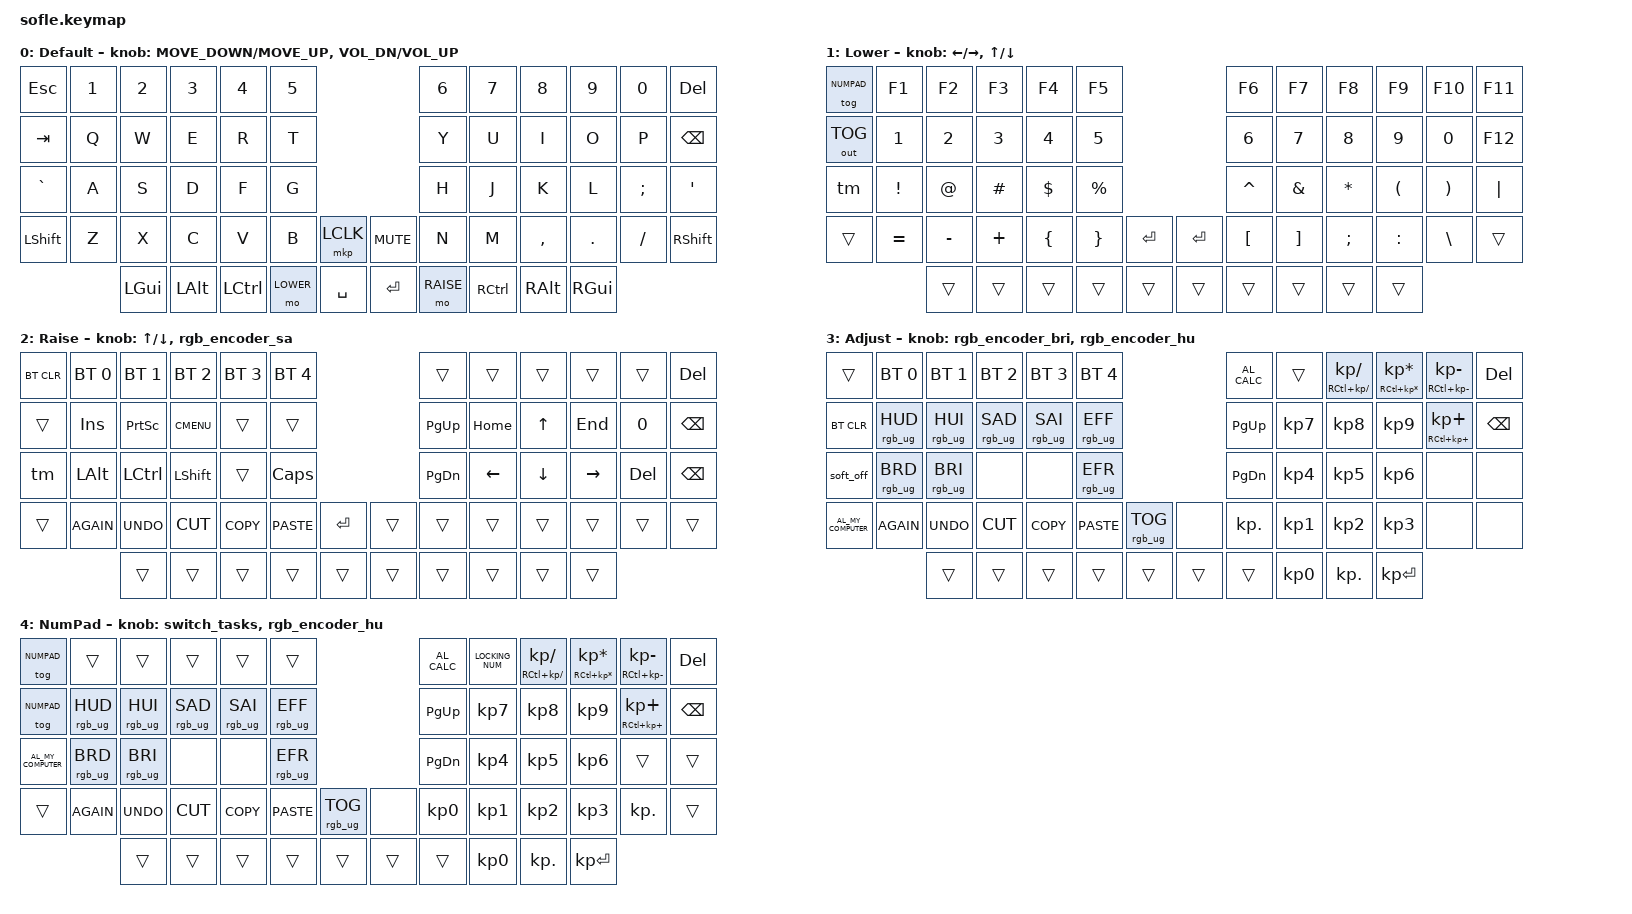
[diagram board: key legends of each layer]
// Define layer number aliases.

#define BASE 0
#define LOWER 1
#define RAISE 2
#define ADJUST 3
#define NUMPAD 4

#include <behaviors.dtsi>
#include <dt-bindings/zmk/bt.h>
#include <dt-bindings/zmk/keys.h>
#include <dt-bindings/zmk/outputs.h>
#include <dt-bindings/zmk/pointing.h>
#include <dt-bindings/zmk/rgb.h>

#include <behaviors/mouse_keys.dtsi>
#include <input/processors.dtsi>
#include <zephyr/dt-bindings/input/input-event-codes.h>
#include <dt-bindings/zmk/mouse.h>

//#include <dt-bindings/led/led.h>

#define ZMK_MOUSE_DEFAULT_MOVE_VAL 1200  // 600
#define ZMK_MOUSE_DEFAULT_SCRL_VAL 20    // 10
#define U_MS_U &mmv MOVE_UP
#define U_MS_D &mmv MOVE_DOWN
#define U_MS_L &mmv MOVE_LEFT
#define U_MS_R &mmv MOVE_RIGHT
#define ZMK_MOUSE_DEFAULT_MOVE_VAL 1200  //  600
#define ZMK_MOUSE_DEFAULT_SCRL_VAL 20    // 10

// Encoders. Don't use. Changes char spacing when using with arrow keys.
//&sensors { triggers-per-rotation = <22>; };
//&left_encoder { steps = <30>; };
//&right_encoder { steps = <30>; };
//&led_strip { chain-length = <29>; };
// Setup of CS pin from nice!view display.

&nice_view_spi {
    compatible = "nordic,nrf-spim";
    pinctrl-0 = <&spi0_default>;
    pinctrl-1 = <&spi0_sleep>;
    pinctrl-names = "default", "sleep";
    //cs-gpios = <&pro_micro 0 GPIO_ACTIVE_HIGH>;  // use D0 (008) for CS niceview + rgb
    cs-gpios = <&pro_micro 4 GPIO_ACTIVE_HIGH>;  // use D4 (022) for CS niceview + rgb
};

&msc {
    acceleration-exponent = <1>;      // 0
    time-to-max-speed-ms = <100>;       // 300
    delay-ms = <0>;                   // 0
};

&mmv {
    time-to-max-speed-ms = <500>;
    acceleration-exponent = <1>;
    trigger-period-ms = <16>;
};

// ZMK only supports full duplex, 2 wire serial. Sofle board is setup for half duplex, 1 wire.
// {
//    wired_split {
//        compatible = "zmk,wired-split";
//        device = <&pro_micro_serial>;
//    };
//};

/ {
    behaviors {
        Shift_Enter: Shift_Enter {
            compatible = "zmk,behavior-hold-tap";
            label = "SHIFT_ENTER";
            bindings = <&kp>, <&kp>;

            #binding-cells = <2>;
            hold-trigger-key-positions = <34>;
            tapping-term-ms = <100>;
        };

        switch_tasks: switch-tasks {
            compatible = "zmk,behavior-sensor-rotate";
            label = "SWITCH_TASKS";
            #sensor-binding-cells = <0>;
            bindings = <&tasks_forward>, <&tasks_backward>;
        };

        fast_encoder: fast_encoder {
            compatible = "zmk,behavior-sensor-rotate";
            #sensor-binding-cells = <0>;
            bindings = <&macro_fast_vol_dn>, <&macro_fast_vol_up>;
        };

        rgb_encoder_bri: rgb_encoder_bri {
            compatible = "zmk,behavior-sensor-rotate";
            #sensor-binding-cells = <0>;
            bindings = <&rgb_ug RGB_BRD>, <&rgb_ug RGB_BRI>;
        };

        rgb_encoder_hu: rgb_encoder_hu {
            compatible = "zmk,behavior-sensor-rotate";
            #sensor-binding-cells = <0>;
            bindings = <&rgb_ug RGB_HUD>, <&rgb_ug RGB_HUI>;
        };

        rgb_encoder_sa: rgb_encoder_sa {
            compatible = "zmk,behavior-sensor-rotate";
            #sensor-binding-cells = <0>;
            bindings = <&rgb_ug RGB_SAD>, <&rgb_ug RGB_SAI>;
        };

        lang_switch: Lang_Switch {
            compatible = "zmk,behavior-tap-dance";
            #binding-cells = <0>;
            bindings = <&kp LA(LS(N1))>, <&kp LA(LS(N2))>, <&kp LA(LEFT_SHIFT)>;

            label = "Language switch (Alt+Shift+N)";
        };

        hm: homerow_mods {
            compatible = "zmk,behavior-hold-tap";
            label = "HOMEROW_MODS";
            bindings = <&kp>, <&kp>;

            #binding-cells = <2>;
            tapping-term-ms = <200>;
            quick-tap-ms = <180>;
            flavor = "tap-preferred";
        };

        hs: homerow_shifts {
            compatible = "zmk,behavior-hold-tap";
            label = "HOMEROW_SHIFTS";
            #binding-cells = <2>;
            bindings = <&kp>, <&kp>;

            tapping-term-ms = <150>;
            quick_tap_ms = <0>;
            flavor = "balanced";
        };

        hsl: homerow_shifts_layer {
            compatible = "zmk,behavior-hold-tap";
            label = "HOMEROW_SHIFTS_LAYER";
            #binding-cells = <2>;
            tapping-term-ms = <150>;
            quick_tap_ms = <0>;
            flavor = "balanced";
            bindings = <&kp>, <&to>;
        };

        ltq: ltq {
            compatible = "zmk,behavior-hold-tap";
            label = "LTQ";
            bindings = <&mo>, <&kp>;

            #binding-cells = <2>;
            tapping-term-ms = <200>;
            quick-tap-ms = <180>;
        };

        auto_shift: auto_shift {
            compatible = "zmk,behavior-hold-tap";
            label = "AUTO_SHIFT";
            bindings = <&kp>, <&kp>;

            #binding-cells = <2>;
            tapping-term-ms = <135>;
            quick-tap-ms = <0>;
        };

        rgb_encoder: rgb_encoder {
            compatible = "zmk,behavior-sensor-rotate";
            label = "RGB_ENCODER";
            #sensor-binding-cells = <0>;
            bindings = <&rgb_ug RGB_BRI>, <&rgb_ug RGB_BRD>;
        };

        scroll_encoder: scroll_encoder {
            compatible = "zmk,behavior-sensor-rotate";
            #sensor-binding-cells = <0>;
            bindings = <&msc SCRL_UP>, <&msc SCRL_DOWN>;

            //tap-ms = <100>;

            tap-ms = <30>;
        };

        scroll_rotation: sensor_rotation_scroll {
            compatible = "zmk,behavior-sensor-rotate-var";
            #sensor-binding-cells = <2>;
            bindings = <&msc>, <&msc>;

            tap-ms = <30>;
        };

        caps: caps {
            compatible = "zmk,behavior-caps-word";
            label = "CAPS";
            #binding-cells = <0>;
            continue-list = <POUND MINUS BACKSPACE UNDERSCORE>;
        };

        tapdance: tapdance {
            compatible = "zmk,behavior-hold-tap";
            label = "TAPDANCE";
            #binding-cells = <2>;
            tapping-term-ms = <150>;
            quick_tap_ms = <0>;
            flavor = "tap-preferred";
            bindings = <&kp>, <&kp>;
        };
    };

    macros {
        tasks_forward: tasks-forward {
            label = "TAKS_FORWARD";
            compatible = "zmk,behavior-macro";
            #binding-cells = <0>;
            bindings =
                <&macro_press>,
                <&kp LALT>,
                <&macro_tap>,
                <&kp TAB>,
                <&macro_release>,
                <&kp LALT>;
        };

        tasks_backward: tasks-backward {
            label = "TAKS_BACKWARD";
            compatible = "zmk,behavior-macro";
            #binding-cells = <0>;
            bindings =
                <&macro_press>,
                <&kp LALT>,
                <&macro_press>,
                <&kp LSHIFT>,
                <&macro_tap>,
                <&kp TAB>,
                <&macro_release>,
                <&kp LSHIFT>,
                <&macro_release>,
                <&kp LALT>;
        };

        macro_fast_vol_up: macro_fast_vol_up {
            compatible = "zmk,behavior-macro";
            #binding-cells = <0>;
            wait-ms = <0>;
            tap-ms = <0>;
            bindings = <&kp C_VOL_UP &kp C_VOL_UP>;
        };

        macro_fast_vol_dn: macro_fast_vol_dn {
            compatible = "zmk,behavior-macro";
            #binding-cells = <0>;
            wait-ms = <0>;
            tap-ms = <0>;
            bindings = <&kp C_VOL_DN &kp C_VOL_DN>;
        };

        NTIL: NTIL {
            compatible = "zmk,behavior-macro";
            #binding-cells = <0>;
            bindings =
                <&macro_press>,
                <&kp LALT>,
                <&macro_tap>,
                <&kp KP_N1 &kp KP_N6 &kp KP_N4>,
                <&macro_release>,
                <&kp LALT>;
        };

        flash_macro: flash_macro {
            compatible = "zmk,behavior-macro";
            #binding-cells = <0>;
            bindings = <&bootloader>;
        };

        // System and Power

        tm: tm {
            label = "TASK_MANAGER";
            compatible = "zmk,behavior-macro";
            #binding-cells = <0>;
            bindings =
                <&macro_press>,
                <&kp LCTRL &kp LSHFT>,
                <&macro_tap>,
                <&kp ESC>,
                <&macro_release>,
                <&kp LCTRL &kp LSHFT>;
        };

        cad: cad {
            label = "CTRL_ALT_DEL";
            compatible = "zmk,behavior-macro";
            #binding-cells = <0>;
            bindings =
                <&macro_press>,
                <&kp LCTRL &kp LALT &kp DEL>,
                <&macro_release>,
                <&kp LCTRL &kp LALT &kp DEL>;
        };

        sleep: sleep {
            label = "SLEEP";
            compatible = "zmk,behavior-macro";
            #binding-cells = <0>;
            bindings =
                <&macro_press>,
                <&kp LGUI>,
                <&macro_tap>,
                <&kp X>,
                <&macro_release>,
                <&kp LGUI>,
                <&macro_tap>,
                <&kp U &kp S>;
        };

        restart: restart {
            label = "RESTART";
            compatible = "zmk,behavior-macro";
            #binding-cells = <0>;
            bindings =
                <&macro_press>,
                <&kp LGUI>,
                <&macro_tap>,
                <&kp X>,
                <&macro_release>,
                <&kp LGUI>,
                <&macro_tap>,
                <&kp U &kp R>;
        };

        shutdown: shutdown {
            label = "SHUTDOWN";
            compatible = "zmk,behavior-macro";
            #binding-cells = <0>;
            bindings =
                <&macro_press>,
                <&kp LGUI>,
                <&macro_tap>,
                <&kp X>,
                <&macro_release>,
                <&kp LGUI>,
                <&macro_tap>,
                <&kp U &kp U>;
        };
    };

    combos {
        compatible = "zmk,combos";

        esc {
            bindings = <&kp ESCAPE>;
            key-positions = <12 13>;
        };

        left_bkt {
            bindings = <&kp LEFT_BRACKET>;
            key-positions = <15 16>;
        };

        right_bkt {
            bindings = <&kp RIGHT_BRACKET>;
            key-positions = <19 20>;
        };

        left_par {
            bindings = <&kp LEFT_PARENTHESIS>;
            key-positions = <27 28>;
        };

        right_par {
            bindings = <&kp RIGHT_PARENTHESIS>;
            key-positions = <31 32>;
        };

        left_brace {
            bindings = <&kp LEFT_BRACE>;
            key-positions = <39 40>;
        };

        right_brace {
            bindings = <&kp RIGHT_BRACE>;
            key-positions = <46 45>;
        };

        bac {
            bindings = <&kp BACKSLASH>;
            key-positions = <17 18>;
        };

        pipe {
            bindings = <&kp PIPE>;
            key-positions = <29 30>;
        };
    };

    // Activate ADJUST layer by pressing raise and lower

    conditional_layers {
        compatible = "zmk,conditional-layers";

        adjust_layer {
            if-layers = <LOWER RAISE>;
            then-layer = <ADJUST>;
        };
    };

    keymap {
        compatible = "zmk,keymap";

        default_layer {
            display-name = "Default";

            //display-name = "";		// This defaults to "LAYER 0" if left empty.
            // ------------------------------------------------------------------------------------------------------------
            // |   `   |  1  |  2  |  3   |  4   |  5   |                   |  6   |  7    |  8    |  9   |   0   |       |
            // |  ESC  |  Q  |  W  |  E   |  R   |  T   |                   |  Y   |  U    |  I    |  O   |   P   | BKSPC |
            // |  TAB  |  A  |  S  |  D   |  F   |  G   |                   |  H   |  J    |  K    |  L   |   ;   |   '   |
            // | SHIFT |  Z  |  X  |  C   |  V   |  B   |  MUTE  |  |       |  N   |  M    |  ,    |  .   |   /   | SHIFT |
            //               | GUI | ALT  | CTRL | LOWER|  ENTER |  | SPACE | RAISE| CTRL  | ALT   | GUI  |

            bindings = <
&kp ESC    &kp N1  &kp N2    &kp N3    &kp N4     &kp N5                              &kp N6     &kp N7     &kp N8     &kp N9    &kp N0    &kp DEL
&kp TAB    &kp Q   &kp W     &kp E     &kp R      &kp T                               &kp Y      &kp U      &kp I      &kp O     &kp P     &kp BSPC
&kp GRAVE  &kp A   &kp S     &kp D     &kp F      &kp G                               &kp H      &kp J      &kp K      &kp L     &kp SEMI  &kp SQT
&kp LSHFT  &kp Z   &kp X     &kp C     &kp V      &kp B      &mkp LCLK     &kp C_MUTE &kp N      &kp M      &kp COMMA  &kp DOT   &kp FSLH  &kp RSHFT
                   &kp LGUI  &kp LALT  &kp LCTRL  &mo LOWER  &kp SPACE       &kp RET  &mo RAISE  &kp RCTRL  &kp RALT   &kp RGUI
            >;

            sensor-bindings =
                <&scroll_rotation MOVE_DOWN MOVE_UP>,
                <&inc_dec_kp C_VOL_DN C_VOL_UP>
            ;

            // Works
            //sensor-bindings = <&inc_dec_kp C_VOL_UP C_VOL_DN>, <&inc_dec_kp PG_UP PG_DN>;		// Works
        };

        lower_layer {
            display-name = "Lower";

            // TODO: Some binds are waiting for shifted keycode support.
            // ------------------------------------------------------------------------------------------------------------
            // |       |  F1 |  F2 |  F3  |  F4  |  F5  |                   |  F6  |  F7   |  F8   |  F9  |  F10  |  F11  |
            // |   `   |  1  |  2  |  3   |  4   |  5   |                   |  6   |  7    |  8    |  9   |   0   |  F12  |
            // |       |  !  |  @  |  #   |  $   |  %   |                   |  ^   |  &    |  *    |  (   |   )   |   |   |
            // |       |  =  |  -  |  +   |  {   |  }   |        |  |       |  [   |  ]    |  ;    |  :   |   \   |       |
            //               |     |      |      |      |        |  |       |      |       |       |      |

            bindings = <
&tog NUMPAD   &kp F1     &kp F2     &kp F3    &kp F4    &kp F5                         &kp F6     &kp F7    &kp F8     &kp F9     &kp F10   &kp F11
&out OUT_TOG  &kp N1     &kp N2     &kp N3    &kp N4    &kp N5                         &kp N6     &kp N7    &kp N8     &kp N9     &kp N0    &kp F12
&tm           &kp EXCL   &kp AT     &kp HASH  &kp DLLR  &kp PRCNT                      &kp CARET  &kp AMPS  &kp ASTRK  &kp LPAR   &kp RPAR  &kp PIPE
&trans        &kp EQUAL  &kp MINUS  &kp PLUS  &kp LBRC  &kp RBRC   &kp RET    &kp RET  &kp LBKT   &kp RBKT  &kp SEMI   &kp COLON  &kp BSLH  &trans
                         &trans     &trans    &trans    &trans     &trans     &trans   &trans     &trans    &trans     &trans
            >;

            sensor-bindings = <&inc_dec_kp LEFT RIGHT>, <&inc_dec_kp UP DOWN>;

            //sensor-bindings = <&inc_dec_kp LEFT_ARROW RIGHT_ARROW>,<&inc_dec_kp UP_ARROW DOWN_ARROW>;
            //sensor-bindings = <&inc_dec_kp LEFT RIGHT>;
        };

        raise_layer {
            display-name = "Raise";

            // ------------------------------------------------------------------------------------------------------------
            // | BTCLR | BT1  | BT2  |  BT3  |  BT4  |  BT5 |                |      |      |       |      |       |       |
            // |       | INS  | PSCR | GUI   |       |      |                | PGUP |      |   ^   |      |       |       |
            // |       | ALT  | CTRL | SHIFT |       | CAPS |                | PGDN |   <- |   v   |  ->  |  DEL  | BKSPC |
            // |       | UNDO | CUT  | COPY  | PASTE |      |      |  |      |      |      |       |      |       |       |
            //                |      |       |       |      |      |  |      |      |      |       |      |

            bindings = <
&bt BT_CLR  &bt BT_SEL 0  &bt BT_SEL 1  &bt BT_SEL 2  &bt BT_SEL 3  &bt BT_SEL 4                     &trans     &trans    &trans    &trans     &trans   &kp DEL
&trans      &kp INS       &kp PSCRN     &kp K_CMENU   &trans        &trans                           &kp PG_UP  &kp HOME  &kp UP    &kp END    &kp N0   &kp BSPC
&tm         &kp LALT      &kp LCTRL     &kp LSHFT     &trans        &kp CLCK                         &kp PG_DN  &kp LEFT  &kp DOWN  &kp RIGHT  &kp DEL  &kp BSPC
&trans      &kp K_AGAIN   &kp K_UNDO    &kp K_CUT     &kp K_COPY    &kp K_PASTE   &kp RET    &trans  &trans     &trans    &trans    &trans     &trans   &trans
                          &trans        &trans        &trans        &trans        &trans     &trans  &trans     &trans    &trans    &trans
            >;

            sensor-bindings = <&inc_dec_kp UP DOWN>, <&rgb_encoder_sa>;

            //          sensor-bindings = <&scroll_encoder>;             // Fails? intended for different sensor?
        };

        adjust_layer {
            // ----------------------------------------------------------------------------------------------------------------------------
            // | BTCLR  |  BT1    |  BT2    |   BT3   |   BT4   |   BT5   |                  |      |      |       |      |       |       |
            // | EXTPWR | RGB_HUD | RGB_HUI | RGB_SAD | RGB_SAI | RGB_EFF |                  |      |      |       |      |       |       |
            // |        | RGB_BRD | RGB_BRI |         |         |         |                  |      |      |       |      |       |       |
            // |        |         |         |         |         |         | RGB_TOG | |      |      |      |       |      |       |       |
            //                    |         |         |         |         |         | |      |      |      |       |      |

            display-name = "Adjust";
            bindings = <
&trans                &bt BT_SEL 0     &bt BT_SEL 1     &bt BT_SEL 2     &bt BT_SEL 3     &bt BT_SEL 4                                &kp C_AL_CALC  &trans           &mt RC(KP_DIVIDE) KP_DIVIDE  &mt RC(KP_MULTIPLY) KP_MULTIPLY  &mt RC(KP_MINUS) KP_MINUS  &kp DEL
&bt BT_CLR            &rgb_ug RGB_HUD  &rgb_ug RGB_HUI  &rgb_ug RGB_SAD  &rgb_ug RGB_SAI  &rgb_ug RGB_EFF                             &kp PG_UP      &kp KP_N7        &kp KP_NUMBER_8              &kp KP_NUMBER_9                  &mt RC(KP_PLUS) KP_PLUS    &kp BSPC
&soft_off             &rgb_ug RGB_BRD  &rgb_ug RGB_BRI  &none            &none            &rgb_ug RGB_EFR                             &kp PG_DN      &kp KP_N4        &kp KP_NUMBER_5              &kp KP_NUMBER_6                  &none                      &none
&kp C_AL_MY_COMPUTER  &kp K_AGAIN      &kp K_UNDO       &kp K_CUT        &kp K_COPY       &kp K_PASTE      &rgb_ug RGB_TOG    &none   &kp KP_DOT     &kp KP_N1        &kp KP_N2                    &kp KP_NUMBER_3                  &none                      &none
                                       &trans           &trans           &trans           &trans           &trans             &trans  &trans         &kp KP_NUMBER_0  &kp KP_DOT                   &kp KP_ENTER
            >;

            sensor-bindings = <&rgb_encoder_bri>, <&rgb_encoder_hu>;

            //sensor-bindings = <&rgb_encoder &scroll_encoder>;
        };

        numpad_layer {
            // ----------------------------------------------------------------------------------------------------------------------------
            // | BTCLR  |  BT1    |  BT2    |   BT3   |   BT4   |   BT5   |                  |      |      |       |      |       |       |
            // | EXTPWR | RGB_HUD | RGB_HUI | RGB_SAD | RGB_SAI | RGB_EFF |                  |      |      |       |      |       |       |
            // |        | RGB_BRD | RGB_BRI |         |         |         |                  |      |      |       |      |       |       |
            // |        |         |         |         |         |         | RGB_TOG | |      |      |      |       |      |       |       |
            //                    |         |         |         |         |         | |      |      |      |       |      |

            display-name = "NumPad";
            bindings = <
&tog NUMPAD           &trans           &trans           &trans           &trans           &trans                                      &kp C_AL_CALC  &kp LOCKING_NUM  &mt RC(KP_DIVIDE) KP_DIVIDE  &mt RC(KP_MULTIPLY) KP_MULTIPLY  &mt RC(KP_MINUS) KP_MINUS  &kp DEL
&tog NUMPAD           &rgb_ug RGB_HUD  &rgb_ug RGB_HUI  &rgb_ug RGB_SAD  &rgb_ug RGB_SAI  &rgb_ug RGB_EFF                             &kp PG_UP      &kp KP_N7        &kp KP_NUMBER_8              &kp KP_NUMBER_9                  &mt RC(KP_PLUS) KP_PLUS    &kp BSPC
&kp C_AL_MY_COMPUTER  &rgb_ug RGB_BRD  &rgb_ug RGB_BRI  &none            &none            &rgb_ug RGB_EFR                             &kp PG_DN      &kp KP_N4        &kp KP_NUMBER_5              &kp KP_NUMBER_6                  &trans                     &trans
&trans                &kp K_AGAIN      &kp K_UNDO       &kp K_CUT        &kp K_COPY       &kp K_PASTE      &rgb_ug RGB_TOG    &none   &kp KP_N0      &kp KP_N1        &kp KP_N2                    &kp KP_NUMBER_3                  &kp KP_DOT                     &trans
                                       &trans           &trans           &trans           &trans           &trans             &trans  &trans         &kp KP_NUMBER_0  &kp KP_DOT                   &kp KP_ENTER
            >;

            sensor-bindings = <&switch_tasks>, <&rgb_encoder_hu>;

            //sensor-bindings = <&rgb_encoder &scroll_encoder>;
        };
    };

    // ZMK ESB Split Transport
    // https://github.com/badjeff/zmk-feature-split-esb
    //esb_split {
    //    compatible = "zmk,esb-split";
    //    // These are arbitrary default addresses. In end user products
    //    // different addresses should be used for each set of devices.
    //    base-addr-0 = <0xE7 0xE7 0xE7 0xE7>;
    //    base-addr-1 = <0xC2 0xC2 0xC2 0xC2>;
    //    addr-prefix = <0xE7 0xC2 0xC3 0xC4 0xC5 0xC6 0xC7 0xC8>;
    //};

};

/*
Fails:
&kp C_AL_TASK_MANAGER
&kp C_AL_SCREEN_SAVER
*/
